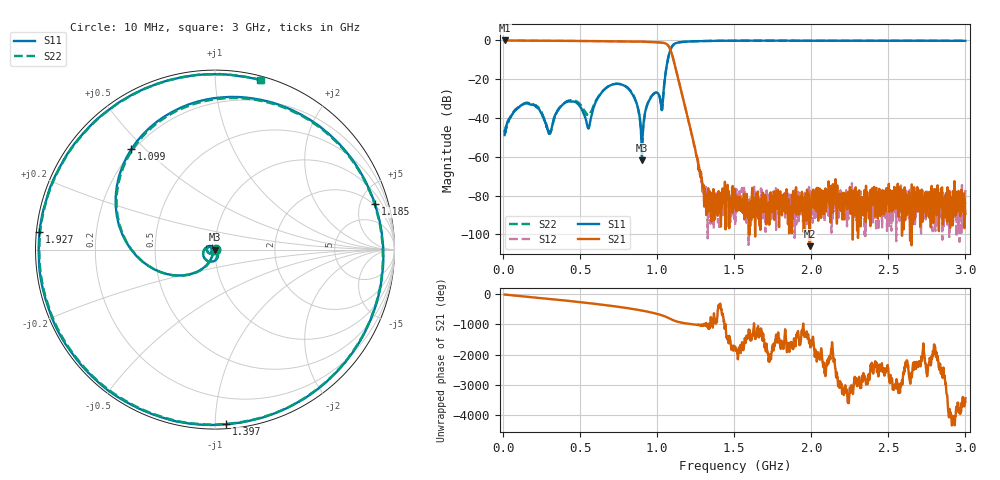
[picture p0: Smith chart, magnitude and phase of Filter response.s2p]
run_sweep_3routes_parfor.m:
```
%% ================= run_sweep_3routes_parfor.m =================
% 複数パラメータを parfor で回す版（プロット無し）
%
% 追加:
%   - s2p ルート (device s2p + sRRC) を追加して保存
%
% IMPORTANT(TODO):
%   いまは実験coeffsの複素回転が未対応なので、暫定的に real(coeffs_exp) で動かす場合がある。
%   後で必ず「A0による位相補償＋実数軸投影」に戻すこと。  ←忘れないこと！

clear; close all; clc;

%% -----------------------
%% (0) Sweepしたいパラメータ（ここだけ編集）
%% -----------------------
cutoff_list = [0.6 0.8 1.0 1.2 1.4 1.6];
snr_list    = [0:2:30];
firstF_list = [-2 -1 0 1 2];
bmax_list   = [2:1:15];
mod_list    = [2 4 8 16];     % (=MODNUM)

%% ★S2P: ルート設定
useS2P  = true;
s2pFile = "Filter response.s2p";   % ★適宜変更
Zs = 50; Zl = 50;

optS2P = struct();
optS2P.Kfit     = 25;
optS2P.doFillLF = false;
optS2P.doPlot   = false;      % sweepでは必ずfalse（parfor前提）
optS2P.padPow2  = true;

%% -----------------------
%% (1) 固定パラメータ（共通）
%% -----------------------
baseParam = struct();
baseParam.cutoff_coeff  = cutoff_list(1);
baseParam.SNRdB         = snr_list(1);
baseParam.first_F       = firstF_list(1);
baseParam.bmax_initial  = bmax_list(1);
baseParam.MODNUM        = mod_list(1);
baseParam.MODTYPE       = "PAM";        % "PAM" or "QAM"
baseParam.TXD_N         = 20090;

baseParam.hFLpS         = 50;
baseParam.NoSpS         = 50;
baseParam.upconvert     = 10;          %#ok<NASGU>
baseParam.fc            = 4e9;
baseParam.beta          = 0.35;

baseParam.Tc_but        = 1/1e9;
baseParam.f_butterworth_cutoff = 1/baseParam.Tc_but/2; %#ok<NASGU>
baseParam.calc_N        = 1000; %#ok<NASGU>

% winの固定部（first_Fだけケースごとに入れ替え）
winBase = struct('first_C',-3,'C_max',15,'first_F',0,'F_max',15);

%% -----------------------
%% (2) 事前計算（Broadcast化して parfor の中を軽くする）
%% -----------------------

% 2-1) x_train を MODNUMごとに作る（SNRやcutoffが違っても同じ列を使う）
x_train_by_mod = cell(1, numel(mod_list));
rng(1);
for im = 1:numel(mod_list)
    tmpParam = baseParam;
    tmpParam.MODNUM = mod_list(im);
    x_train_by_mod{im} = generate_symbols(tmpParam, baseParam.TXD_N);
end

% 2-2) 理論ChanFrameを cutoffごとに作る（cutoff以外が固定ならこれでOK）
ChanFrame_th_by_cutoff = cell(1, numel(cutoff_list));
for ic = 1:numel(cutoff_list)
    ptmp = baseParam;
    ptmp.cutoff_coeff = cutoff_list(ic);
    ChanFrame_th_by_cutoff{ic} = get_channel_synthetic(ptmp);
end

% ★S2P 2-3) s2p ChanFrame を cutoff ごとに作る（device+sRRC 合成済み）
ChanFrame_s2p_by_cutoff = cell(1, numel(cutoff_list));
param_s2p_by_cutoff     = cell(1, numel(cutoff_list));  % Tc_but 等が上書きされた param_out
info_s2p_by_cutoff      = cell(1, numel(cutoff_list));

if useS2P
    if ~exist(s2pFile,'file')
        error('S2P file not found: %s', s2pFile);
    end

    for ic = 1:numel(cutoff_list)
        ptmp = baseParam;
        ptmp.cutoff_coeff = cutoff_list(ic);

        % get_channel_s2p_device_srrc は「conv(h_dev, h_srrc)*dt」規約で ChanFrame を返す前提
        [ChanFrame_s2p_by_cutoff{ic}, info_s2p_by_cutoff{ic}, param_s2p_by_cutoff{ic}] = ...
            get_channel_s2p_device_srrc(ptmp, winBase, s2pFile, Zs, Zl, optS2P);
    end
end

%% -----------------------
%% (3) 実験チャネル推定（必要なら先に1回だけ作る）
%% -----------------------
usePartialExp = true;               % ←不要なら false
coeffs_exp_by_firstF = [];

if usePartialExp
    measFile = 'IQWAVEFORM_64QAM.mat';   % 適宜
    S = load(measFile);

    tx_sym_exp = S.tx_upd(:).';     % 実験送信シンボル（QAMで複素になり得る）
    y_rx_exp   = S.xout1(:).';
    x_ref_exp  = S.xin1(:).';

    symR_exp   = S.symR;
    NoSpS_exp  = S.nSamps;

    % 群遅延（実験側コードに合わせる）
    beta = 0.35; %#ok<NASGU>
    nsymb = 80;  %#ok<NASGU>
    c_idx_ref = (nsymb/2)*NoSpS_exp + 1;

    % xcorr で lag & 位相 -> c_index
    [xc, lags] = xcorr(y_rx_exp, x_ref_exp);
    [~, imx]   = max(abs(xc));
    lag        = lags(imx);
    phi        = angle(xc(imx));
    c_index_exp = c_idx_ref + lag;

    y_rx_exp_corr = y_rx_exp * exp(-1j*phi);

    IO_exp = struct();
    IO_exp.y_wf    = y_rx_exp_corr;
    IO_exp.NoSpS   = NoSpS_exp;
    IO_exp.Tc      = 1/symR_exp;
    IO_exp.fs      = symR_exp*NoSpS_exp;
    IO_exp.c_index = c_index_exp;

    % first_Fごとに coeffs を作る（sweepでfirst_Fを変えるならこれが簡単）
    coeffs_exp_by_firstF = cell(1, numel(firstF_list));
    for iF = 1:numel(firstF_list)
        winTmp = winBase;
        winTmp.first_F = firstF_list(iF);
        coeffs_tmp = estimate_channel_ls(IO_exp, tx_sym_exp, winTmp);

        % -------------------------
        % 暫定：複素を real に丸める（TODO: 後で必ず直す）
        % -------------------------
        if upper(string(baseParam.MODTYPE)) == "PAM"
            if any(abs(imag(coeffs_tmp.ChannelCoeff)) > 1e-12) || abs(imag(coeffs_tmp.NormRef)) > 1e-12
                warning('coeffs_exp is complex. PAM mode: using real(coeffs_exp).');
            end
            coeffs_tmp.ChannelCoeff = real(coeffs_tmp.ChannelCoeff);
            coeffs_tmp.FilterCoeff  = real(coeffs_tmp.FilterCoeff);
            coeffs_tmp.NormRef      = real(coeffs_tmp.NormRef);
        end

        coeffs_exp_by_firstF{iF} = coeffs_tmp;
    end
end

%% -----------------------
%% (4) パラメータグリッド（idx=1..meshN の整数連続に落とす）
%% -----------------------
[nC, nS, nF, nB, nM] = deal(numel(cutoff_list), numel(snr_list), numel(firstF_list), numel(bmax_list), numel(mod_list));
gridbox = [nC nS nF nB nM];

[cutI, snrI, fFI, bmaxI, modI] = ndgrid(1:nC, 1:nS, 1:nF, 1:nB, 1:nM);
meshN = numel(cutI);

cutI  = cutI(:);
snrI  = snrI(:);
fFI   = fFI(:);
bmaxI = bmaxI(:);
modI  = modI(:);

%% -----------------------
%% (5) parfor で回す（プロット禁止）
%% -----------------------
results = cell(meshN, 1);

useParfor = false;
if useParfor
    parfor idx = 1:meshN
        rng(1000 + idx);

        param = baseParam;
        param.cutoff_coeff = cutoff_list(cutI(idx));
        param.SNRdB        = snr_list(snrI(idx));
        param.first_F      = firstF_list(fFI(idx));
        param.bmax_initial = bmax_list(bmaxI(idx));
        param.MODNUM       = mod_list(modI(idx));

        win = winBase;
        win.first_F = param.first_F;

        x_train = x_train_by_mod{modI(idx)};
        ChanFrame_th = ChanFrame_th_by_cutoff{cutI(idx)};

        if usePartialExp
            coeffs_exp = coeffs_exp_by_firstF{fFI(idx)};
        else
            coeffs_exp = [];
        end

        % ★S2P: cutoffに対応する ChanFrame と param_out を渡す
        if useS2P
            ChanFrame_s2p = ChanFrame_s2p_by_cutoff{cutI(idx)};
            param_s2p_base = param_s2p_by_cutoff{cutI(idx)};
        else
            ChanFrame_s2p = [];
            param_s2p_base = [];
        end

        results{idx} = run_one_case_3routes_noplot(param, win, ChanFrame_th, x_train, coeffs_exp, ChanFrame_s2p, param_s2p_base);
    end
else
    for idx = 1:meshN
        rng(1000 + idx);

        param = baseParam;
        param.cutoff_coeff = cutoff_list(cutI(idx));
        param.SNRdB        = snr_list(snrI(idx));
        param.first_F      = firstF_list(fFI(idx));
        param.bmax_initial = bmax_list(bmaxI(idx));
        param.MODNUM       = mod_list(modI(idx));

        win = winBase;
        win.first_F = param.first_F;

        x_train = x_train_by_mod{modI(idx)};
        ChanFrame_th = ChanFrame_th_by_cutoff{cutI(idx)};

        if usePartialExp
            coeffs_exp = coeffs_exp_by_firstF{fFI(idx)};
        else
            coeffs_exp = [];
        end

        % ★S2P
        if useS2P
            ChanFrame_s2p = ChanFrame_s2p_by_cutoff{cutI(idx)};
            param_s2p_base = param_s2p_by_cutoff{cutI(idx)};
        else
            ChanFrame_s2p = [];
            param_s2p_base = [];
        end

        results{idx} = run_one_case_3routes_noplot(param, win, ChanFrame_th, x_train, coeffs_exp, ChanFrame_s2p, param_s2p_base);
    end
end

%% -----------------------
%% (6) 保存（Param + Res だけ）  ※EVM/EVMref/S2Pも追加
%% -----------------------
R = [results{:}];

res = struct();

% Theory route
res.th_BER_woTHP     = reshape([R.th_BER_woTHP],     gridbox);
res.th_BER_wTHP      = reshape([R.th_BER_wTHP],      gridbox);
res.th_HardCap_woTHP = reshape([R.th_HardCap_woTHP], gridbox);
res.th_HardCap_wTHP  = reshape([R.th_HardCap_wTHP],  gridbox);
res.th_SoftCap_woTHP = reshape([R.th_SoftCap_woTHP], gridbox);
res.th_SoftCap_wTHP  = reshape([R.th_SoftCap_wTHP],  gridbox);
res.th_EVM_woTHP     = reshape([R.th_EVM_woTHP],     gridbox);
res.th_EVM_wTHP      = reshape([R.th_EVM_wTHP],      gridbox);
res.th_EVMref_woTHP  = reshape([R.th_EVMref_woTHP],  gridbox);
res.th_EVMref_wTHP   = reshape([R.th_EVMref_wTHP],   gridbox);

% PartialExp route
res.px_BER_woTHP     = reshape([R.px_BER_woTHP],     gridbox);
res.px_BER_wTHP      = reshape([R.px_BER_wTHP],      gridbox);
res.px_HardCap_woTHP = reshape([R.px_HardCap_woTHP], gridbox);
res.px_HardCap_wTHP  = reshape([R.px_HardCap_wTHP],  gridbox);
res.px_SoftCap_woTHP = reshape([R.px_SoftCap_woTHP], gridbox);
res.px_SoftCap_wTHP  = reshape([R.px_SoftCap_wTHP],  gridbox);
res.px_EVM_woTHP     = reshape([R.px_EVM_woTHP],     gridbox);
res.px_EVM_wTHP      = reshape([R.px_EVM_wTHP],      gridbox);
res.px_EVMref_woTHP  = reshape([R.px_EVMref_woTHP],  gridbox);
res.px_EVMref_wTHP   = reshape([R.px_EVMref_wTHP],   gridbox);

% ★S2P route
res.s2p_BER_woTHP     = reshape([R.s2p_BER_woTHP],     gridbox);
res.s2p_BER_wTHP      = reshape([R.s2p_BER_wTHP],      gridbox);
res.s2p_HardCap_woTHP = reshape([R.s2p_HardCap_woTHP], gridbox);
res.s2p_HardCap_wTHP  = reshape([R.s2p_HardCap_wTHP],  gridbox);
res.s2p_SoftCap_woTHP = reshape([R.s2p_SoftCap_woTHP], gridbox);
res.s2p_SoftCap_wTHP  = reshape([R.s2p_SoftCap_wTHP],  gridbox);
res.s2p_EVM_woTHP     = reshape([R.s2p_EVM_woTHP],     gridbox);
res.s2p_EVM_wTHP      = reshape([R.s2p_EVM_wTHP],      gridbox);
res.s2p_EVMref_woTHP  = reshape([R.s2p_EVMref_woTHP],  gridbox);
res.s2p_EVMref_wTHP   = reshape([R.s2p_EVMref_wTHP],   gridbox);

paramSweep = baseParam;
paramSweep.cutoff_coeff = cutoff_list;
paramSweep.SNRdB        = snr_list;
paramSweep.first_F      = firstF_list;
paramSweep.bmax_initial = bmax_list;
paramSweep.MODNUM       = mod_list;
paramSweep.gridbox      = gridbox;
paramSweep.meshN        = meshN;
paramSweep.winBase      = winBase;
paramSweep.usePartialExp = usePartialExp;

% ★S2P メタ情報も保存
paramSweep.useS2P   = useS2P;
paramSweep.s2pFile  = s2pFile;
paramSweep.Zs = Zs; paramSweep.Zl = Zl;
paramSweep.optS2P = optS2P;
paramSweep.infoS2P_by_cutoff = info_s2p_by_cutoff;  % Bdev 等（軽い情報だけの想定）

outfile = "Sweep3routes_" + num2str(baseParam.TXD_N) + "sym.mat";
save(outfile, 'paramSweep', 'res', '-v7.3');
fprintf('Saved: %s\n', outfile);
```
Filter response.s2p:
!Keysight Technologies,N5242B,US58420760,A.14.80.03
!Date: Tuesday, March 01, 2022 13:26:08
!Correction: S11(C  2-Port  )
!S21(C  2-Port  )
!S12(C  2-Port  )
!S22(C  2-Port  )
!S2P File: Measurements: S11, S21, S12, S22:
# Hz S  dB  R 50
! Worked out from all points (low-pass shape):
!   1601 points, 10 MHz to 3 GHz, reference 50 ohm
!   highest |S21| = -0.04 dB at 10 MHz (marker M1); lowest = -106.1 dB at 1.989 GHz (marker M2)
!   |S21| within 3 dB of the highest: start of sweep to 1.075 GHz
!   lowest |S11| = -61.8 dB at 901.4 MHz (marker M3), VSWR 1.00, Z = 50.1 - j0.0306 ohm
!   |S11| at or under -10 dB: start of sweep to 1.069 GHz
!   |S22| runs from -54.1 to -0.2 dB; largest |S21 - S12| = 0.0071
!   S11 on the Smith chart (normalised r, x): 10 MHz: 1.01, +0.00; 1.099 GHz: 0.19, +0.45; 1.185 GHz: 1.86, +6.67; 1.397 GHz: 0.03, -1.07; 1.927 GHz: 0.01, +0.05; 3 GHz: 0.03, +1.30
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1e7  -48.85 14.1  -0.04 -5.3  -0.04 -4.9  -46.31 -16.8
3.557188e8  -36.01 -88.2  -0.23 -179.5  -0.24 -179.6  -35.83 -84.3
6.864875e8  -23.54 -99.2  -0.42 -11.1  -0.43 -11.2  -23.55 -100.6
9.013938e8  -61.80 -22.1  -0.65 -178.2  -0.65 -178.2  -54.05 -170.1
1.099481e9  -2.76 129.9  -8.19 -130.0  -8.18 -130.0  -2.80 129.0
1.185444e9  -0.66 15.9  -35.70 115.1  -35.74 115.1  -0.67 13.4
1.396612e9  -0.21 -86.3  -82.74 -23.2  -89.63 115.7  -0.24 -88.5
1.505e9  -0.16 -115.2  -86.24 71.3  -86.34 98.2  -0.19 -117.0
1.927338e9  -0.15 174.2  -81.47 122.2  -83.81 -13.9  -0.19 173.4
1.989006e9  -0.17 166.6  -106.13 153.7  -85.47 67.8  -0.19 165.9
3e9  -0.21 75.1  -89.46 149.0  -76.97 67.8  -0.20 74.9
